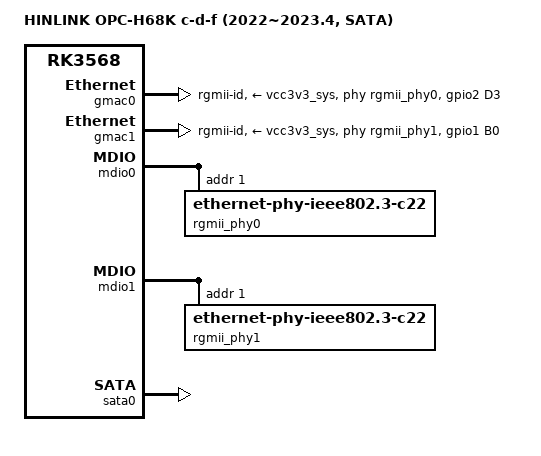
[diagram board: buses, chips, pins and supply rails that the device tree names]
// SPDX-License-Identifier: (GPL-2.0+ OR MIT)
/*
 * HinLink OPC-H68K c-d-f
 *
 * HinLink 适配 for immortalwrt —— 每机型独立 DTS，不做自适应。
 *
 * ★ 本文件承载 c / d / f 三个板本（2026-10-12 合并）：
 *     原 rk3568-hinlink-h68k-c.dts 与 rk3568-hinlink-h68k-d.dts
 *     去注释/归一 model+compatible 后 **0 行实质差异**；
 *     且 02_network 映射在当日更正后已一致（LAN eth1 eth2 eth3 / WAN eth0）。
 *   compatible 里保留旧标识（hinlink,opc-h68k-c / -d）作为次串，
 *   便于旧 DTB / 厂商写的 board.d 继续匹配。
 *
 * 硬件事实来源：厂商 2022 R22.7.19/R22.8.22 与 2023 R23.4.20 固件 dtb
 * 蓝本：OpenWrt 主线 rk3568-hinlink-h68k.dts
 *
 * 2×RTL8125 2.5G + 2×千兆，无板载 WiFi
 *   网口：LAN = eth1 eth2 eth3 / **WAN = eth0**（老一代把 WAN 焊在 gmac0 上）
 *   （2026-10-12 按实机更正：旧版照抄 2022 厂商固件写成 WAN=eth1，实机是 eth0）
 *
 * ★ SATA 变体（文件名不带 -usb）：combphy0 让给 SATA，USB3.0 不可用
 *   需要 USB3.0 的机器请用 rk3568-hinlink-h68k-c-d-f-usb.dts
 */

/dts-v1/;

#include "rk3568-hinlink-opc.dtsi"

/ {
	model = "HINLINK OPC-H68K c-d-f (2022~2023.4, SATA)";
	compatible = "hinlink,opc-h68k-c-d-f", "hinlink,opc-h68k-c", "hinlink,opc-h68k-d", "hinlink,h68k", "linkstar,h68k", "rockchip,rk3568";

	aliases {
		ethernet0 = &gmac0;
		ethernet1 = &gmac1;
	};
};
&gmac0 {
	assigned-clocks = <&cru SCLK_GMAC0_RX_TX>, <&cru SCLK_GMAC0>;
	assigned-clock-parents = <&cru SCLK_GMAC0_RGMII_SPEED>;
	assigned-clock-rates = <0>, <125000000>;
	clock_in_out = "output";
	phy-mode = "rgmii-id";
	phy-supply = <&vcc3v3_sys>;
	pinctrl-names = "default";
	pinctrl-0 = <&gmac0_miim
		     &gmac0_tx_bus2
		     &gmac0_rx_bus2
		     &gmac0_rgmii_clk
		     &gmac0_rgmii_bus
		     &gmac0_rstn>;
	snps,reset-gpios = <&gpio2 RK_PD3 GPIO_ACTIVE_LOW>;
	snps,reset-active-low;
	snps,reset-delays-us = <0 20000 100000>;
	tx_delay = <0x3c>;
	rx_delay = <0x2f>;
	phy-handle = <&rgmii_phy0>;
	status = "okay";
};

&gmac1 {
	assigned-clocks = <&cru SCLK_GMAC1_RX_TX>, <&cru SCLK_GMAC1>;
	assigned-clock-parents = <&cru SCLK_GMAC1_RGMII_SPEED>;
	assigned-clock-rates = <0>, <125000000>;
	clock_in_out = "output";
	phy-mode = "rgmii-id";
	phy-supply = <&vcc3v3_sys>;
	pinctrl-names = "default";
	pinctrl-0 = <&gmac1m1_miim
		     &gmac1m1_tx_bus2
		     &gmac1m1_rx_bus2
		     &gmac1m1_rgmii_clk
		     &gmac1m1_rgmii_bus
		     &gmac1_rstn>;
	snps,reset-gpios = <&gpio1 RK_PB0 GPIO_ACTIVE_LOW>;
	snps,reset-active-low;
	snps,reset-delays-us = <0 20000 100000>;
	tx_delay = <0x4f>;
	rx_delay = <0x26>;
	phy-handle = <&rgmii_phy1>;
	status = "okay";
};

&mdio0 {
	rgmii_phy0: ethernet-phy@1 {
		compatible = "ethernet-phy-ieee802.3-c22";
		reg = <0x1>;
	};
};

&mdio1 {
	rgmii_phy1: ethernet-phy@1 {
		compatible = "ethernet-phy-ieee802.3-c22";
		reg = <0x1>;
	};
};

&pinctrl {
	gmac {
		gmac0_rstn: gmac0-rstn {
			rockchip,pins = <2 RK_PD3 RK_FUNC_GPIO &pcfg_pull_none>;
		};

		gmac1_rstn: gmac1-rstn {
			rockchip,pins = <1 RK_PB0 RK_FUNC_GPIO &pcfg_pull_none>;
		};
	};
};

/* ============================================================
 * SATA 变体：combphy0 让给 SATA，USB3.0 不可用
 *
 * ★ RK3568 硬件复用关系（rk3568.dtsi 实证）：
 *     sata0    phys = <&combphy0 PHY_TYPE_SATA>   (phy@fe820000)
 *     USB3.0   也需要 combphy0 作 PHY_TYPE_USB3
 *   combphy 同一时刻只能是一种 PHY_TYPE ⇒ SATA 与 USB3.0 **二选一**。
 *
 * 本变体使能 sata0（继承主线 opc.dtsi 的 status="okay"）。
 * 需要 USB3.0 的机器请用 rk3568-hinlink-h68k-c-d-f-usb.dts。
 *
 * ★ 网口不受影响：2.5G 网卡走独立的 pcie30phy（phy@fe8c0000），
 *   与 combphy0 无关，因此启用 SATA 不改变网口数量。
 *
 * ★ 该复用只存在于 2022-2023 老机器（h68k-a-b / c-d-f 两组的两个变体）。
 *   新机 h68k-new 与 h69k 系不涉及此复用。
 * ============================================================ */

&sata0 {
	status = "okay";
};
